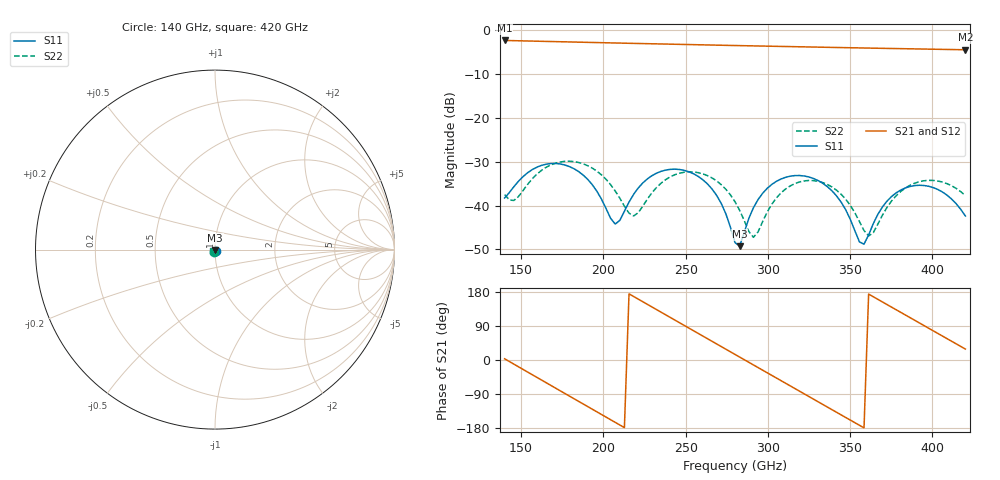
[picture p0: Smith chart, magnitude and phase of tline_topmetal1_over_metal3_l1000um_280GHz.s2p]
#  GHZ S DB R 50
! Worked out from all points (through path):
!   101 points, 140 GHz to 420 GHz, reference 50 ohm
!   highest |S21| = -2.36 dB at 140 GHz (marker M1); lowest = -4.5 dB at 420 GHz (marker M2)
!   group delay of S21, straight-line fit = 6.89 ps
!   lowest |S11| = -49.2 dB at 282.8 GHz (marker M3), VSWR 1.01, Z = 50.1 - j0.328 ohm
!   |S11| at or under -10 dB: start of sweep to end of sweep
!   |S22| runs from -47.2 to -29.9 dB; largest |S21 - S12| = 1.1e-13
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140  -38.26 -54.5  -2.36 3.2  -2.36 3.2  -37.49 -110.8
145.6  -35.71 -42.1  -2.41 -10.8  -2.41 -10.8  -38.84 -84.0
165.2  -30.57 -63.2  -2.58 -59.8  -2.58 -59.8  -31.28 -71.0
176.4  -30.73 -84.6  -2.67 -87.8  -2.67 -87.8  -29.92 -91.0
187.6  -33.00 -105.0  -2.77 -115.7  -2.77 -115.7  -30.47 -112.7
207.2  -44.21 -79.3  -2.94 -164.5  -2.94 -164.5  -36.65 -139.9
218.4  -37.43 -38.6  -3.03 167.6  -3.03 167.6  -42.36 -105.5
235.2  -32.18 -63.9  -3.16 125.9  -3.16 125.9  -34.84 -79.5
249.2  -31.98 -93.1  -3.27 91.1  -3.27 91.1  -32.39 -103.2
263.2  -35.03 -121.5  -3.39 56.4  -3.39 56.4  -33.16 -130.8
271.6  -39.48 -133.5  -3.45 35.6  -3.45 35.6  -35.22 -146.0
280  -48.43 -110.2  -3.52 14.8  -3.52 14.8  -39.12 -156.1
282.8  -49.25 -71.8  -3.54 7.8  -3.54 7.8  -41.06 -156.1
291.2  -40.49 -37.8  -3.60 -13.0  -3.60 -13.0  -47.22 -115.0
308  -33.93 -65.3  -3.72 -54.6  -3.72 -54.6  -37.10 -80.1
327.6  -33.81 -106.8  -3.86 -103.1  -3.86 -103.1  -34.30 -115.6
344.4  -39.15 -136.1  -3.98 -144.6  -3.98 -144.6  -37.38 -144.8
358.4  -48.79 -85.0  -4.08 -179.2  -4.08 -179.2  -45.69 -134.5
364  -44.14 -54.7  -4.12 167.0  -4.12 167.0  -46.19 -93.5
375.2  -37.91 -61.0  -4.19 139.4  -4.19 139.4  -38.92 -74.4
397.6  -35.59 -102.7  -4.34 84.1  -4.34 84.1  -34.24 -109.2
420  -42.38 -128.8  -4.48 28.8  -4.48 28.8  -37.73 -141.1
